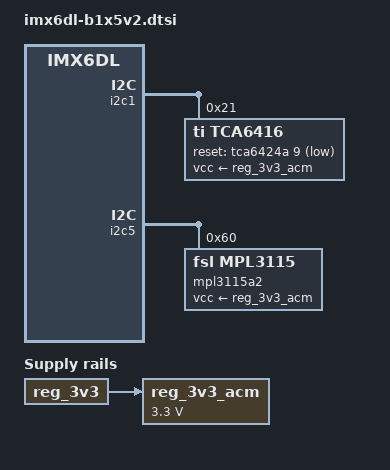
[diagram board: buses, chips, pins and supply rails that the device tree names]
// SPDX-License-Identifier: GPL-2.0 or MIT
//
// Device Tree Source for General Electric B1x5v2
//
// Copyright 2018-2021 General Electric Company
// Copyright 2018-2021 Collabora

#include <dt-bindings/input/input.h>
#include "imx6dl-b1x5pv2.dtsi"

/ {
	reg_3v3_acm: regulator-3v3-acm {
		compatible = "regulator-fixed";
		regulator-name = "3V3 ACM";
		regulator-min-microvolt = <3300000>;
		regulator-max-microvolt = <3300000>;
		regulator-always-on;
		vin-supply = <&reg_3v3>;
	};
};

&i2c1 {
	tca6416: gpio-controller@21 {
		compatible = "ti,tca6416";
		reg = <0x21>;
		gpio-controller;
		#gpio-cells = <2>;
		vcc-supply = <&reg_3v3_acm>;

		/*
		 * TCA6424 cannot handle low type interrupts at the moment and
		 * it cannot be added without quite a few hacks. Since this
		 * controller does not have any input type GPIOs, pretend that
		 * the interrupt pin is unconnected.
		 */
		//interrupt-parent = <&tca6424a>;
		//interrupts = <1 IRQ_TYPE_LEVEL_LOW>;
		//interrupt-controller;
		//#interrupt-cells = <2>;

		reset-gpios = <&tca6424a 9 GPIO_ACTIVE_LOW>;

		gpio-line-names = "ACM1_EN", "ACM1_CL0", "ACM1_CL1", "ACM1_CL2",
				  "", "ACM2_EN", "ACM2_CL0", "ACM2_CL1",
				  "ACM2_CL2", "", "", "",
				  "", "", "", "";
	};
};

&i2c5 {
	mpl3115a2: pressure-sensor@60 {
		compatible = "fsl,mpl3115";
		reg = <0x60>;

		vcc-supply = <&reg_3v3_acm>;

		/* The MPL3115 binding does not yet support interrupts */
		//interrupt-parent = <&tca6424a>;
		//interrupts = <22 IRQ_TYPE_EDGE_RISING 23 IRQ_TYPE_EDGE_RISING>;
	};
};
